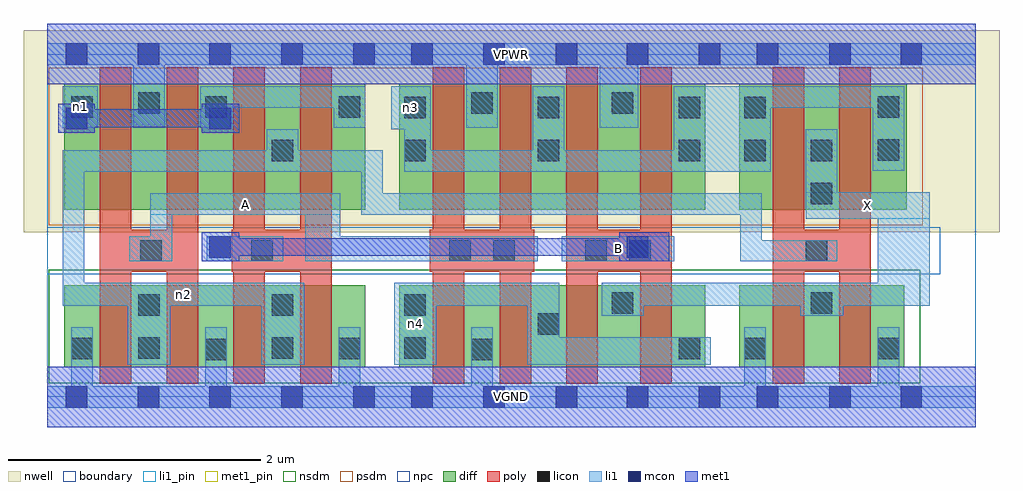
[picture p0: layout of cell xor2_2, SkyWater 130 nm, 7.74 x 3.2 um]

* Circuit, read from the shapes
.subckt xor2_2 A B VGND VPWR X n1 n2 n3 n4
XM1 n2 A VGND VSUBS sky130_fd_pr__nfet_01v8 w=0.65 l=0.25 m=2
XM2 n2 B VGND VSUBS sky130_fd_pr__nfet_01v8 w=0.65 l=0.25 m=2
XM3 VGND A n4 VSUBS sky130_fd_pr__nfet_01v8 w=0.65 l=0.25 m=2
XM4 X B n4 VSUBS sky130_fd_pr__nfet_01v8 w=0.65 l=0.25 m=2
XM5 X n2 VGND VSUBS sky130_fd_pr__nfet_01v8 w=0.65 l=0.25 m=2
XM6 VPWR A n1 n5 sky130_fd_pr__pfet_01v8 w=1 l=0.25 m=2
XM7 n2 B n1 n5 sky130_fd_pr__pfet_01v8 w=1 l=0.25 m=2
XM8 VPWR A n3 n5 sky130_fd_pr__pfet_01v8 w=1 l=0.25 m=2
XM9 VPWR B n3 n5 sky130_fd_pr__pfet_01v8 w=1 l=0.25 m=2
XM10 X n2 n3 n5 sky130_fd_pr__pfet_01v8 w=1 l=0.25 m=2
.ends

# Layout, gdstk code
import gdstk
lib = gdstk.Library(unit=1e-6, precision=1e-09)
def R(c, l, rs):  # rectangles x0, y0, x1, y1
    for r in rs: c.add(gdstk.rectangle(r[:2], r[2:], *l))
def A(c, l, x, y, w, h, nx, ny, dx, dy):  # array of equal rectangles
    R(c, l, [(x+i*dx, y+j*dy, x+i*dx+w, y+j*dy+h) for i in range(nx) for j in range(ny)])
nwell = (64, 20)
diff = (65, 20)
poly = (66, 20)
licon = (66, 44)
li1_pin = (67, 16)
li1 = (67, 20)
mcon = (67, 44)
met1_pin = (68, 16)
met1 = (68, 20)
nsdm = (93, 44)
psdm = (94, 20)
npc = (95, 20)
boundary = (235, 4)

xor2_2 = lib.new_cell('xor2_2')
R(xor2_2, nwell, [(-0.19,1.305,7.55,2.91), (0,1.305,7.36,2.91)])
R(xor2_2, diff, [(0.135,0.235,2.52,0.885), (2.79,0.235,5.215,0.885), (5.485,0.235,6.795,0.885), (0.135,1.485,2.52,2.485), (2.79,1.485,5.215,2.485), (5.485,1.485,6.815,2.485)])
A(xor2_2, poly, 0.415, 0.105, 0.25, 2.51, 4, 1, 0.53, 0)
A(xor2_2, poly, 3.055, 0.105, 0.25, 2.51, 3, 1, 0.53, 0)
R(xor2_2, poly, [(4.7,0.105,4.95,2.615), (5.75,0.105,6,2.615), (6.28,0.105,6.53,2.615), (0.415,0.995,1.195,1.325), (1.46,0.995,2.255,1.325), (3.03,0.995,3.86,1.325), (4.115,0.995,4.95,1.325), (5.75,0.995,6.53,1.325)])
A(xor2_2, licon, 0.19, 2.215, 0.17, 0.17, 3, 1, 1.06, 0)
R(xor2_2, licon, [(1.25,0.29,1.42,0.46), (3.36,0.29,3.53,0.46), (0.19,0.3,0.36,0.47), (2.31,0.3,2.48,0.47), (5.005,0.3,5.175,0.47), (5.525,0.3,5.695,0.47), (6.585,0.3,6.755,0.47), (0.72,0.305,0.89,0.475), (1.78,0.305,1.95,0.475), (2.83,0.305,3,0.475), (3.89,0.495,4.06,0.665), (0.72,0.645,0.89,0.815), (1.78,0.645,1.95,0.815), (2.83,0.645,3,0.815), (4.475,0.66,4.645,0.83), (6.055,0.66,6.225,0.83), (0.735,1.075,0.905,1.245), (1.615,1.075,1.785,1.245), (3.185,1.075,3.355,1.245), (3.535,1.075,3.705,1.245), (4.265,1.075,4.435,1.245), (4.615,1.075,4.785,1.245), (6.015,1.075,6.185,1.245), (6.055,1.53,6.225,1.7), (1.78,1.87,1.95,2.04), (2.83,1.87,3,2.04), (3.89,1.87,4.06,2.04), (5.005,1.87,5.175,2.04), (5.525,1.87,5.695,2.04), (6.055,1.87,6.225,2.04), (6.585,1.875,6.755,2.045), (2.83,2.21,3,2.38), (3.89,2.21,4.06,2.38), (5.005,2.21,5.175,2.38), (5.525,2.21,5.695,2.38), (6.585,2.215,6.755,2.385), (0.72,2.245,0.89,2.415), (3.36,2.245,3.53,2.415), (4.475,2.245,4.645,2.415)])
R(xor2_2, li1_pin, [(4.08,1.075,4.97,1.275), (6.015,1.415,6.995,1.625), (0.815,1.445,2.32,1.615)])
A(xor2_2, li1, 0.19, -0.085, 0.17, 0.64, 3, 1, 1.06, 0)
R(xor2_2, li1, [(0,-0.085,7.36,0.085), (3.36,-0.085,3.53,0.555), (5.525,-0.085,5.695,0.555), (6.585,-0.085,6.755,0.555), (0.635,0.255,0.975,0.905), (1.695,0.255,2.035,0.905), (2.75,0.255,3.085,0.905), (3.805,0.255,5.26,0.475), (3.805,0.255,4.06,0.905), (4.395,0.645,4.73,0.905), (5.97,0.645,6.31,0.905), (0.12,0.725,2.035,0.905), (0.12,0.725,0.29,1.955), (2.75,0.725,4.06,0.905), (4.395,0.725,6.995,0.905), (6.585,0.725,6.995,1.625), (0.65,1.075,0.99,1.275), (0.815,1.075,0.99,1.615), (1.265,1.075,1.87,1.275), (2.045,1.075,3.89,1.275), (2.045,1.075,2.32,1.615), (4.08,1.075,4.97,1.275), (5.495,1.075,6.265,1.245), (5.495,1.075,5.665,1.615), (6.015,1.415,6.265,2.125), (6.015,1.415,6.995,1.625), (0.815,1.445,2.32,1.615), (2.49,1.445,5.665,1.615), (2.49,1.445,2.66,1.955), (0.12,1.785,2.66,1.955), (1.74,1.785,1.99,2.125), (2.83,1.785,5.735,1.955), (2.83,1.785,3.04,2.465), (3.85,1.785,4.1,2.465), (4.965,1.785,5.735,2.465), (6.545,1.795,6.795,2.465), (0.145,2.125,0.315,2.465), (1.285,2.125,1.455,2.465), (2.725,2.125,3.04,2.465), (0.12,2.135,0.4,2.465), (0.68,2.135,0.93,2.805), (1.21,2.135,1.46,2.465), (2.27,2.135,2.52,2.465), (3.32,2.135,3.57,2.805), (4.38,2.135,4.685,2.805), (1.21,2.295,2.52,2.465), (4.965,2.295,6.795,2.465), (0,2.635,7.36,2.805)])
A(xor2_2, mcon, 0.145, -0.085, 0.17, 0.17, 5, 2, 0.57, 2.72)
R(xor2_2, mcon, [(2.885,-0.085,3.055,0.085), (3.455,-0.085,3.625,0.085), (4.03,-0.085,4.2,0.085), (4.595,-0.085,4.765,0.085), (5.165,-0.085,5.335,0.085), (5.625,-0.085,5.795,0.085), (6.2,-0.085,6.37,0.085), (6.765,-0.085,6.935,0.085), (1.285,1.105,1.455,1.275), (4.595,1.105,4.765,1.275), (0.145,2.125,0.315,2.295), (1.285,2.125,1.455,2.295), (2.885,2.635,3.055,2.805), (3.455,2.635,3.625,2.805), (4.03,2.635,4.2,2.805), (4.595,2.635,4.765,2.805), (5.165,2.635,5.335,2.805), (5.625,2.635,5.795,2.805), (6.2,2.635,6.37,2.805), (6.765,2.635,6.935,2.805)])
R(xor2_2, met1_pin, [(0,-0.24,7.36,0.24), (0,2.48,7.36,2.96)])
R(xor2_2, met1, [(0,-0.24,7.36,0.24), (1.225,1.075,1.52,1.305), (4.535,1.075,4.93,1.305), (1.225,1.12,4.93,1.26), (0.085,2.095,0.375,2.325), (1.225,2.095,1.52,2.325), (0.085,2.14,1.52,2.28), (0,2.48,7.36,2.96)])
R(xor2_2, nsdm, [(0.01,0.11,6.92,1.01)])
R(xor2_2, psdm, [(0.01,1.36,6.94,2.61)])
R(xor2_2, npc, [(0,0.975,7.08,1.345)])
R(xor2_2, boundary, [(0,0,7.36,2.72)])
xor2_2.add(gdstk.Label('A', (1.567,1.53), layer=67, texttype=5))
xor2_2.add(gdstk.Label('B', (4.525,1.175), layer=67, texttype=5))
xor2_2.add(gdstk.Label('X', (6.505,1.52), layer=67, texttype=5))
xor2_2.add(gdstk.Label('n4', (2.917,0.58), layer=67, texttype=5))
xor2_2.add(gdstk.Label('n2', (1.077,0.815), layer=67, texttype=5))
xor2_2.add(gdstk.Label('n1', (0.26,2.3), layer=67, texttype=5))
xor2_2.add(gdstk.Label('n3', (2.882,2.295), layer=67, texttype=5))
xor2_2.add(gdstk.Label('VPWR', (3.68,2.72), layer=68, texttype=5))
xor2_2.add(gdstk.Label('VGND', (3.68,0), layer=68, texttype=5))
xor2_2.add(gdstk.Label('A', (1.567,1.53), layer=67, texttype=16))
xor2_2.add(gdstk.Label('B', (4.525,1.175), layer=67, texttype=16))
xor2_2.add(gdstk.Label('X', (6.505,1.52), layer=67, texttype=16))
xor2_2.add(gdstk.Label('VPWR', (3.68,2.72), layer=68, texttype=16))
xor2_2.add(gdstk.Label('VGND', (3.68,0), layer=68, texttype=16))

lib.write_gds('xor2_2.gds')
